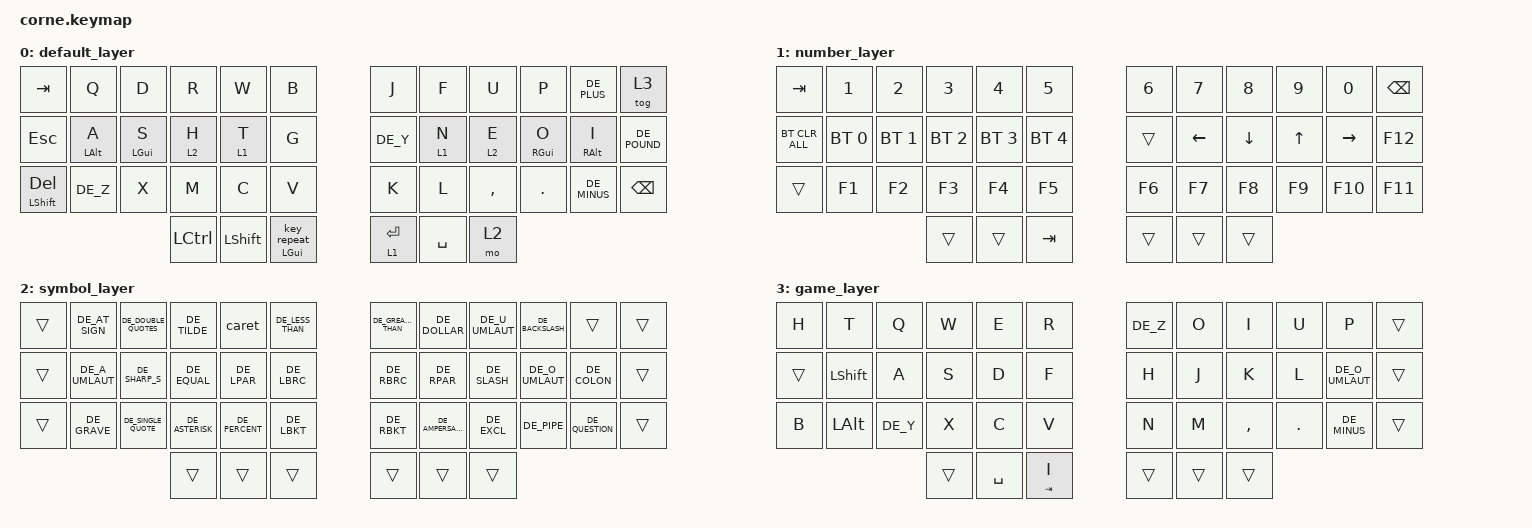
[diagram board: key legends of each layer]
#include <behaviors.dtsi>
#include <dt-bindings/zmk/keys.h>
#include <dt-bindings/zmk/bt.h>
#include "keys_de.h"

/ {
    behaviors {
        th: tap_hold {
            compatible = "zmk,behavior-hold-tap";
            #binding-cells = <2>;
            flavor = "tap-preferred";
            tapping-term-ms = <300>;
            bindings = <&kp>, <&kp>;
        };
        thm: tap_hold_layer_move {
            compatible = "zmk,behavior-hold-tap";
            #binding-cells = <2>;
            flavor = "tap-preferred";
            tapping-term-ms = <300>;
            bindings = <&mo>, <&kp>;
        };
        th_repeat: tap_hold_repeat {
            compatible = "zmk,behavior-hold-tap";
            #binding-cells = <2>;
            flavor = "tap-preferred";
            tapping-term-ms = <300>;
            bindings = <&kp>, <&key_repeat>;
        };
        td0: tap_dance_0 {
            compatible = "zmk,behavior-tap-dance";
            #binding-cells = <0>;
            tapping-term-ms = <200>;
            bindings = <&th_repeat LGUI 0>, <&kp TAB>;
        };
    };
    macros {
        caret: caret {
            compatible = "zmk,behavior-macro";
            #binding-cells = <0>;
            bindings = <&macro_tap &kp DE_CARET &kp DE_CARET>;
        };
    };
    keymap {
        compatible = "zmk,keymap";

        default_layer {
            bindings = <
                &kp TAB       &kp Q      &kp D      &kp R     &kp W     &kp B                &kp J       &kp F      &kp U     &kp P      &kp DE_PLUS  &tog 3
                &kp ESC       &th LALT A &th LGUI S &thm 2 H  &thm 1 T  &kp G                &kp DE_Y    &thm 1 N   &thm 2 E  &th RGUI O &th RALT I   &kp DE_POUND
                &th LSHFT DEL &kp DE_Z   &kp X      &kp M     &kp C     &kp V                &kp K       &kp L      &kp COMMA &kp DOT    &kp DE_MINUS &kp BSPC
                                                    &kp LCTRL &kp LSHFT &th_repeat LGUI 0                &thm 1 RET &kp SPACE &mo 2                                                      
            >;
        };
        number_layer {
            bindings = <
                &kp TAB        &kp N1       &kp N2       &kp N3       &kp N4       &kp N5          &kp N6  &kp N7    &kp N8    &kp N9   &kp N0     &kp BSPC              
                &bt BT_CLR_ALL &bt BT_SEL 0 &bt BT_SEL 1 &bt BT_SEL 2 &bt BT_SEL 3 &bt BT_SEL 4    &trans  &kp LEFT  &kp DOWN  &kp UP   &kp RIGHT  &kp F12
                &trans         &kp F1       &kp F2       &kp F3       &kp F4       &kp F5          &kp F6  &kp F7    &kp F8    &kp F9   &kp F10    &kp F11
                                                         &trans       &trans       &kp TAB         &trans  &trans    &trans 
            >;
        };

        symbol_layer {
            bindings = <
                &trans  &kp DE_AT_SIGN   &kp DE_DOUBLE_QUOTES  &kp DE_TILDE     &caret          &kp DE_LESS_THAN   &kp DE_GREATER_THAN  &kp DE_DOLLAR     &kp DE_U_UMLAUT  &kp DE_BACKSLASH  &trans           &trans 
                &trans  &kp DE_A_UMLAUT  &kp DE_SHARP_S        &kp DE_EQUAL     &kp DE_LPAR     &kp DE_LBRC        &kp DE_RBRC          &kp DE_RPAR       &kp DE_SLASH     &kp DE_O_UMLAUT   &kp DE_COLON     &trans 
                &trans  &kp DE_GRAVE     &kp DE_SINGLE_QUOTE   &kp DE_ASTERISK  &kp DE_PERCENT  &kp DE_LBKT        &kp DE_RBKT          &kp DE_AMPERSAND  &kp DE_EXCL      &kp DE_PIPE       &kp DE_QUESTION  &trans 
                                                               &trans           &trans          &trans             &trans               &trans            &trans 
            >;
        };

        game_layer {
            bindings = <
                &kp H   &kp T     &kp Q    &kp W  &kp E     &kp R     &kp DE_Z  &kp O  &kp I     &kp U    &kp P            &trans
                &trans  &kp LSHFT &kp A    &kp S  &kp D     &kp F     &kp H     &kp J  &kp K     &kp L    &kp DE_O_UMLAUT  &trans
                &kp B   &kp LALT  &kp DE_Y &kp X  &kp C     &kp V     &kp N     &kp M  &kp COMMA &kp DOT  &kp DE_MINUS     &trans
                                           &trans &kp SPACE &th TAB I &trans    &trans &trans
            >;
        };
    };
};
